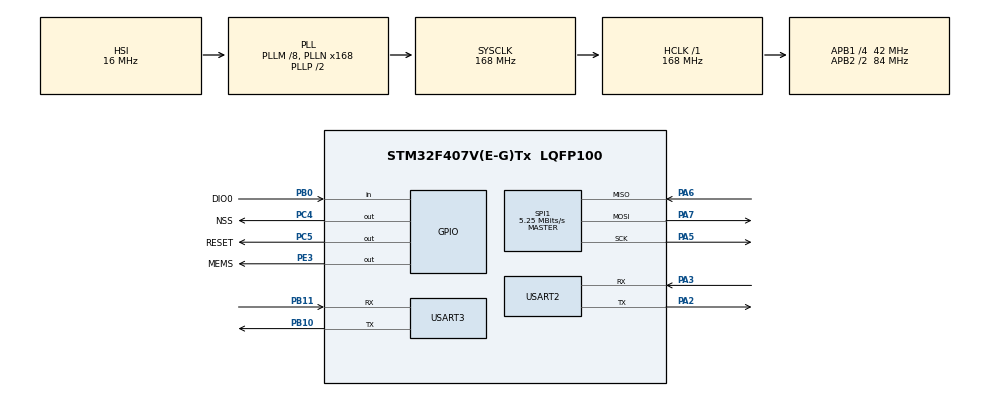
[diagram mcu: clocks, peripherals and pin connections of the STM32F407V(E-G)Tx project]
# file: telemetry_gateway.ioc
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FREERTOS.Tasks01=defaultTask,0,128,StartDefaultTask,Default,NULL,Dynamic,NULL,NULL
FREERTOS.configENABLE_FPU=1
Mcu.Family=STM32F4
Mcu.Name=STM32F407V(E-G)Tx
Mcu.Package=LQFP100
NVIC.PriorityGroup=NVIC_PRIORITYGROUP_4
NVIC.TIM1_UP_TIM10_IRQn=true\:15\:0\:false\:false\:true\:false\:false\:true\:true
NVIC.TimeBase=TIM1_UP_TIM10_IRQn
NVIC.TimeBaseIP=TIM1
PA2.Mode=Asynchronous
PA2.Signal=USART2_TX
PA3.Mode=Asynchronous
PA3.Signal=USART2_RX
PA5.Mode=Full_Duplex_Master
PA5.Signal=SPI1_SCK
PA6.Mode=Full_Duplex_Master
PA6.Signal=SPI1_MISO
PA7.Mode=Full_Duplex_Master
PA7.Signal=SPI1_MOSI
PB0.GPIO_Label=DIO0
PB0.GPIO_PuPd=GPIO_NOPULL
PB0.Signal=GPIO_Input
PB10.Mode=Asynchronous
PB10.Signal=USART3_TX
PB11.Mode=Asynchronous
PB11.Signal=USART3_RX
PC4.GPIO_Label=NSS
PC4.PinState=GPIO_PIN_SET
PC4.Signal=GPIO_Output
PC5.GPIO_Label=RESET
PC5.PinState=GPIO_PIN_SET
PC5.Signal=GPIO_Output
PE3.GPIO_Label=MEMS
PE3.PinState=GPIO_PIN_SET
PE3.Signal=GPIO_Output
PH0-OSC_IN.Mode=HSE-External-Oscillator
PH0-OSC_IN.Signal=RCC_OSC_IN
PH1-OSC_OUT.Mode=HSE-External-Oscillator
PH1-OSC_OUT.Signal=RCC_OSC_OUT
ProjectManager.HeapSize=0x200
ProjectManager.StackSize=0x400
ProjectManager.TargetToolchain=Makefile
RCC.48MHZClocksFreq_Value=84000000
RCC.AHBFreq_Value=168000000
RCC.APB1CLKDivider=RCC_HCLK_DIV4
RCC.APB1Freq_Value=42000000
RCC.APB1TimFreq_Value=84000000
RCC.APB2CLKDivider=RCC_HCLK_DIV2
RCC.APB2Freq_Value=84000000
RCC.APB2TimFreq_Value=168000000
RCC.CortexFreq_Value=168000000
RCC.HCLKFreq_Value=168000000
RCC.HSE_VALUE=25000000
RCC.HSI_VALUE=16000000
RCC.LSE_VALUE=32768
RCC.PLLM=8
RCC.PLLN=168
RCC.SYSCLKFreq_VALUE=168000000
RCC.SYSCLKSource=RCC_SYSCLKSOURCE_PLLCLK
RCC.VCOOutputFreq_Value=336000000
SPI1.BaudRatePrescaler=SPI_BAUDRATEPRESCALER_16
SPI1.CalculateBaudRate=5.25 MBits/s
SPI1.Direction=SPI_DIRECTION_2LINES
SPI1.Mode=SPI_MODE_MASTER
SPI1.VirtualType=VM_MASTER
USART2.VirtualMode=VM_ASYNC
USART3.VirtualMode=VM_ASYNC
VP_FREERTOS_VS_CMSIS_V1.Mode=CMSIS_V1
VP_SYS_VS_tim1.Mode=TIM1
board=custom

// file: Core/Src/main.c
/* USER CODE BEGIN Header */
/**
  ******************************************************************************
  * @file           : main.c
  * @brief          : Main program body
  ******************************************************************************
  * @attention
  *
  * Copyright (c) 2026 STMicroelectronics.
  * All rights reserved.
  *
  * This software is licensed under terms that can be found in the LICENSE file
  * in the root directory of this software component.
  * If no LICENSE file comes with this software, it is provided AS-IS.
  *
  ******************************************************************************
  */
/* USER CODE END Header */
#include "main.h"
#include "cmsis_os.h"

/* USER CODE BEGIN Includes */
#include <string.h>
#include <stdio.h>
#include "SX1278.h"
#include "SX1278_hw.h"
/* USER CODE END Includes */

SPI_HandleTypeDef hspi1;

UART_HandleTypeDef huart2;
UART_HandleTypeDef huart3;

osThreadId defaultTaskHandle;
/* USER CODE BEGIN PV */
uint8_t tx_buffer[64];
uint8_t rx_buffer[64];

/* LoRa module */
SX1278_hw_t SX1278_hw;
SX1278_t SX1278;

QueueHandle_t telemetryQueue;
/* USER CODE END PV */

void SystemClock_Config(void);
static void MX_GPIO_Init(void);
static void MX_USART2_UART_Init(void);
static void MX_USART3_UART_Init(void);
static void MX_SPI1_Init(void);
void StartDefaultTask(void const * argument);

/* USER CODE BEGIN PFP */
void vUARTTask(void *pvParameters);

void vTelemetryTask(void *pvParameters);

/* USER CODE END PFP */

int main(void)
{

  /* MCU Configuration--------------------------------------------------------*/

  /* Reset of all peripherals, Initializes the Flash interface and the Systick. */
  HAL_Init();

  /* Configure the system clock */
  SystemClock_Config();

  /* Initialize all configured peripherals */
  MX_GPIO_Init();
  MX_USART2_UART_Init();
  MX_USART3_UART_Init();
  MX_SPI1_Init();
  /* USER CODE BEGIN 2 */

/* Initialize LoRa hardware pins */
SX1278_hw.nss.port = NSS_GPIO_Port;
SX1278_hw.nss.pin = NSS_Pin;
SX1278_hw.reset.port = RESET_GPIO_Port;
SX1278_hw.reset.pin = RESET_Pin;
SX1278_hw.dio0.port = DIO0_GPIO_Port;
SX1278_hw.dio0.pin = DIO0_Pin;
SX1278_hw.spi = &hspi1;

/* Initialize LoRa module */
SX1278.hw = &SX1278_hw;
SX1278_init(&SX1278, 433000000, SX1278_POWER_11DBM,
            SX1278_LORA_SF_7, SX1278_LORA_BW_125KHZ,
            SX1278_LORA_CR_4_5, SX1278_LORA_CRC_EN, 10);

HAL_UART_Transmit(&huart2, (uint8_t*)"LoRa Init Done\r\n", 16, 100);

uint8_t version = SX1278_SPIRead(&SX1278, 0x42);
char debug[40];
snprintf(debug, sizeof(debug), "SX1278 version: 0x%02X\r\n", version);
HAL_UART_Transmit(&huart2, (uint8_t*)debug, strlen(debug), 100);
  /* Set MEMS CS high */
  HAL_GPIO_WritePin(MEMS_GPIO_Port, MEMS_Pin, GPIO_PIN_SET);

HAL_UART_Transmit(&huart2, (uint8_t*)"After LoRa init\r\n", 17, 100);

  // create UART and telemetry tasks
xTaskCreate(vUARTTask, "UART Task", 1024, NULL, 3, NULL);
xTaskCreate(vTelemetryTask, "Telemetry Task", 1024, NULL, 2, NULL);
HAL_UART_Transmit(&huart2, (uint8_t*)"Tasks created\r\n", 15, 100);

  /* USER CODE END 2 */

  /* Create the thread(s) */
  /* definition and creation of defaultTask */
  osThreadDef(defaultTask, StartDefaultTask, osPriorityNormal, 0, 128);
  defaultTaskHandle = osThreadCreate(osThread(defaultTask), NULL);

  /* USER CODE BEGIN RTOS_THREADS */
  /* add threads, ... */

  // create telemetry queue - holds up to 10 telemetry messages, each up to 64 bytes
  telemetryQueue = xQueueCreate(10, sizeof(tx_buffer));

  /* USER CODE END RTOS_THREADS */

  HAL_UART_Transmit(&huart2, (uint8_t*)"Starting scheduler\r\n", 20, 100);
  /* Start scheduler */
  osKernelStart();

  /* We should never get here as control is now taken by the scheduler */

  /* Infinite loop */
  while (1)
  {

  }
}

void SystemClock_Config(void)
{
  RCC_OscInitTypeDef RCC_OscInitStruct = {0};
  RCC_ClkInitTypeDef RCC_ClkInitStruct = {0};

  /** Configure the main internal regulator output voltage
  */
  __HAL_RCC_PWR_CLK_ENABLE();
  __HAL_PWR_VOLTAGESCALING_CONFIG(PWR_REGULATOR_VOLTAGE_SCALE1);

  /** Initializes the RCC Oscillators according to the specified parameters
  * in the RCC_OscInitTypeDef structure.
  */
  RCC_OscInitStruct.OscillatorType = RCC_OSCILLATORTYPE_HSI;
  RCC_OscInitStruct.HSIState = RCC_HSI_ON;
  RCC_OscInitStruct.HSICalibrationValue = RCC_HSICALIBRATION_DEFAULT;
  RCC_OscInitStruct.PLL.PLLState = RCC_PLL_ON;
  RCC_OscInitStruct.PLL.PLLSource = RCC_PLLSOURCE_HSI;
  RCC_OscInitStruct.PLL.PLLM = 8;
  RCC_OscInitStruct.PLL.PLLN = 168;
  RCC_OscInitStruct.PLL.PLLP = RCC_PLLP_DIV2;
  RCC_OscInitStruct.PLL.PLLQ = 4;
  if (HAL_RCC_OscConfig(&RCC_OscInitStruct) != HAL_OK)
  {
    Error_Handler();
  }

  /** Initializes the CPU, AHB and APB buses clocks
  */
  RCC_ClkInitStruct.ClockType = RCC_CLOCKTYPE_HCLK|RCC_CLOCKTYPE_SYSCLK
                              |RCC_CLOCKTYPE_PCLK1|RCC_CLOCKTYPE_PCLK2;
  RCC_ClkInitStruct.SYSCLKSource = RCC_SYSCLKSOURCE_PLLCLK;
  RCC_ClkInitStruct.AHBCLKDivider = RCC_SYSCLK_DIV1;
  RCC_ClkInitStruct.APB1CLKDivider = RCC_HCLK_DIV4;
  RCC_ClkInitStruct.APB2CLKDivider = RCC_HCLK_DIV2;

  if (HAL_RCC_ClockConfig(&RCC_ClkInitStruct, FLASH_LATENCY_5) != HAL_OK)
  {
    Error_Handler();
  }
}

static void MX_SPI1_Init(void)
{

  /* SPI1 parameter configuration*/
  hspi1.Instance = SPI1;
  hspi1.Init.Mode = SPI_MODE_MASTER;
  hspi1.Init.Direction = SPI_DIRECTION_2LINES;
  hspi1.Init.DataSize = SPI_DATASIZE_8BIT;
  hspi1.Init.CLKPolarity = SPI_POLARITY_LOW;
  hspi1.Init.CLKPhase = SPI_PHASE_1EDGE;
  hspi1.Init.NSS = SPI_NSS_SOFT;
  hspi1.Init.BaudRatePrescaler = SPI_BAUDRATEPRESCALER_16;
  hspi1.Init.FirstBit = SPI_FIRSTBIT_MSB;
  hspi1.Init.TIMode = SPI_TIMODE_DISABLE;
  hspi1.Init.CRCCalculation = SPI_CRCCALCULATION_DISABLE;
  hspi1.Init.CRCPolynomial = 10;
  if (HAL_SPI_Init(&hspi1) != HAL_OK)
  {
    Error_Handler();
  }

}

static void MX_USART2_UART_Init(void)
{

  huart2.Instance = USART2;
  huart2.Init.BaudRate = 115200;
  huart2.Init.WordLength = UART_WORDLENGTH_8B;
  huart2.Init.StopBits = UART_STOPBITS_1;
  huart2.Init.Parity = UART_PARITY_NONE;
  huart2.Init.Mode = UART_MODE_TX_RX;
  huart2.Init.HwFlowCtl = UART_HWCONTROL_NONE;
  huart2.Init.OverSampling = UART_OVERSAMPLING_16;
  if (HAL_UART_Init(&huart2) != HAL_OK)
  {
    Error_Handler();
  }

}

static void MX_USART3_UART_Init(void)
{

  huart3.Instance = USART3;
  huart3.Init.BaudRate = 115200;
  huart3.Init.WordLength = UART_WORDLENGTH_8B;
  huart3.Init.StopBits = UART_STOPBITS_1;
  huart3.Init.Parity = UART_PARITY_NONE;
  huart3.Init.Mode = UART_MODE_TX_RX;
  huart3.Init.HwFlowCtl = UART_HWCONTROL_NONE;
  huart3.Init.OverSampling = UART_OVERSAMPLING_16;
  if (HAL_UART_Init(&huart3) != HAL_OK)
  {
    Error_Handler();
  }

}

static void MX_GPIO_Init(void)
{
  GPIO_InitTypeDef GPIO_InitStruct = {0};

  /* GPIO Ports Clock Enable */
  __HAL_RCC_GPIOE_CLK_ENABLE();
  __HAL_RCC_GPIOH_CLK_ENABLE();
  __HAL_RCC_GPIOA_CLK_ENABLE();
  __HAL_RCC_GPIOC_CLK_ENABLE();
  __HAL_RCC_GPIOB_CLK_ENABLE();

  /*Configure GPIO pin Output Level */
  HAL_GPIO_WritePin(MEMS_GPIO_Port, MEMS_Pin, GPIO_PIN_SET);

  /*Configure GPIO pin Output Level */
  HAL_GPIO_WritePin(GPIOC, NSS_Pin|RESET_Pin, GPIO_PIN_SET);

  /*Configure GPIO pin : MEMS_Pin */
  GPIO_InitStruct.Pin = MEMS_Pin;
  GPIO_InitStruct.Mode = GPIO_MODE_OUTPUT_PP;
  GPIO_InitStruct.Pull = GPIO_NOPULL;
  GPIO_InitStruct.Speed = GPIO_SPEED_FREQ_LOW;
  HAL_GPIO_Init(MEMS_GPIO_Port, &GPIO_InitStruct);

  /*Configure GPIO pins : NSS_Pin RESET_Pin */
  GPIO_InitStruct.Pin = NSS_Pin|RESET_Pin;
  GPIO_InitStruct.Mode = GPIO_MODE_OUTPUT_PP;
  GPIO_InitStruct.Pull = GPIO_NOPULL;
  GPIO_InitStruct.Speed = GPIO_SPEED_FREQ_LOW;
  HAL_GPIO_Init(GPIOC, &GPIO_InitStruct);

  /*Configure GPIO pin : DIO0_Pin */
  GPIO_InitStruct.Pin = DIO0_Pin;
  GPIO_InitStruct.Mode = GPIO_MODE_INPUT;
  GPIO_InitStruct.Pull = GPIO_NOPULL;
  HAL_GPIO_Init(DIO0_GPIO_Port, &GPIO_InitStruct);

}

/* USER CODE BEGIN 4 */
void vUARTTask(void *pvParameters) {
    uint8_t rx_buffer[64];
    while (1) {
        // Check for incoming data on USART3 with short timeout to not block
        if (HAL_UART_Receive(&huart3, rx_buffer, sizeof(rx_buffer), 10) == HAL_OK) {
            // Process received data (e.g., print to debug monitor)
            xQueueSend(telemetryQueue, rx_buffer, 0); // Send to telemetry queue
        }
        // Yield to other tasks
        vTaskDelay(pdMS_TO_TICKS(50));
    }
}

void vTelemetryTask(void *pvParameters) {
    for (;;) {
        HAL_UART_Transmit(&huart2, (uint8_t*)"Task started\r\n", 14, 100);
        snprintf((char*)tx_buffer, sizeof(tx_buffer), "DEPTH:12.5,HDG:270,BAT:11.8,TEMP:35.2\r\n");

        /* Send to ESP32 via USART2 */
        HAL_UART_Transmit(&huart2, tx_buffer, strlen((char*)tx_buffer), 100);

        /* Echo to debug monitor via USART3 */
        HAL_UART_Transmit(&huart3, tx_buffer, strlen((char*)tx_buffer), 100);

        /* Transmit over LoRa (reduced timeout to avoid blocking scheduler) */
        int lora_result = SX1278_transmit(&SX1278, tx_buffer,
                          strlen((char*)tx_buffer), 500);
        if (lora_result > 0) {
            HAL_UART_Transmit(&huart2, (uint8_t*)"LoRa TX OK\r\n", 12, 100);
        } else {
            HAL_UART_Transmit(&huart2, (uint8_t*)"LoRa TX FAIL\r\n", 14, 100);
        }
        /* Wait 1 second before next telemetry cycle */
        vTaskDelay(pdMS_TO_TICKS(1000));
    }
}

/* USER CODE END 4 */

void StartDefaultTask(void const * argument)
{
  for(;;)
  {
    osDelay(1);
  }
}

void HAL_TIM_PeriodElapsedCallback(TIM_HandleTypeDef *htim)
{
  if (htim->Instance == TIM1)
  {
    HAL_IncTick();
  }
}

void Error_Handler(void)
{
  __disable_irq();
  while (1)
  {
  }
}
